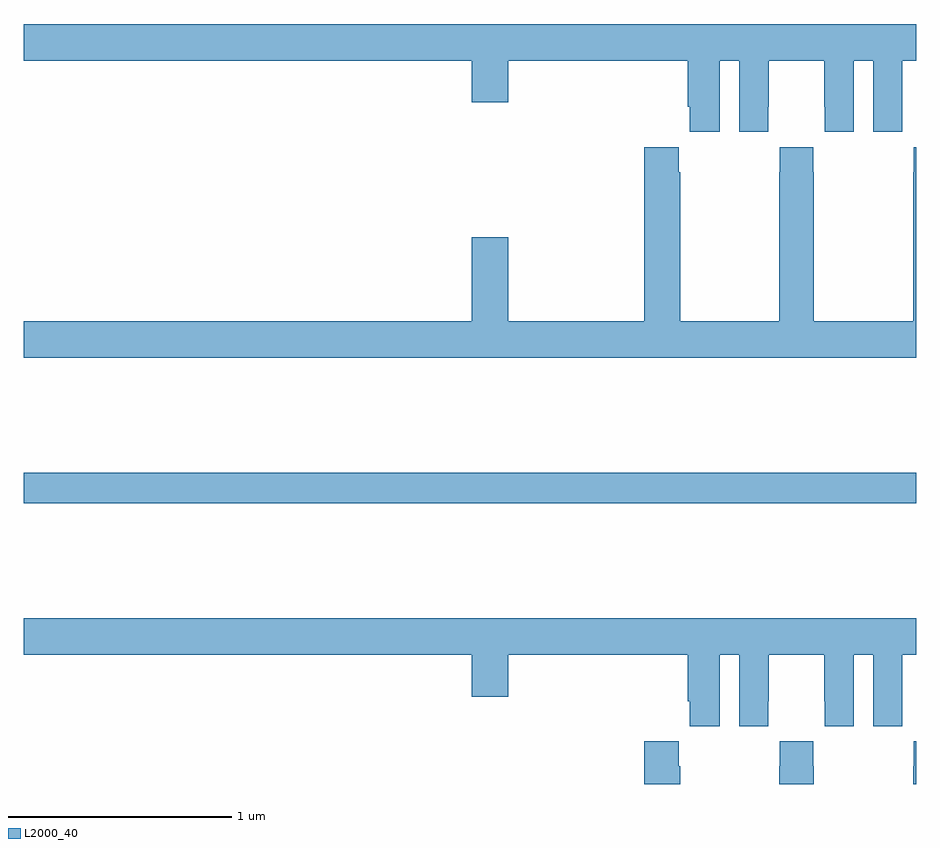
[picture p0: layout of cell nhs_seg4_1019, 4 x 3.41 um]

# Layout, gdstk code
import gdstk
lib = gdstk.Library(unit=1e-6, precision=1e-09)
def R(c, l, rs):  # rectangles x0, y0, x1, y1
    for r in rs: c.add(gdstk.rectangle(r[:2], r[2:], *l))
def P(c, l, *ps):  # polygons
    for p in ps: c.add(gdstk.Polygon(p, *l))
L2000_40 = (2000, 40)

nhs_seg4_1019 = lib.new_cell('nhs_seg4_1019')
R(nhs_seg4_1019, L2000_40, [(163,804.16,167,804.296)])
P(nhs_seg4_1019, L2000_40, [(166.12,806.144),(166.208,806.144),(166.208,805.824),(166.338,805.824),(166.338,805.936),(166.339,805.936),(166.339,806.144),(166.589,806.144),(166.589,805.936),(166.59,805.936),(166.59,805.824),(166.72,805.824),(166.72,806.144),(166.808,806.144),(166.808,805.824),(166.938,805.824),(166.938,805.936),(166.939,805.936),(166.939,806.144),(167,806.144),(167,806.308),(163,806.308),(163,806.144),(165.008,806.144),(165.008,805.956),(165.172,805.956),(165.172,806.144),(165.977,806.144),(165.977,805.936),(165.986,805.936),(165.986,805.824),(166.12,805.824)],
  [(167,805.756),(166.989,805.756),(166.989,805.643),(166.987,805.643),(166.987,804.976),(166.542,804.976),(166.542,805.643),(166.539,805.643),(166.539,805.756),(166.389,805.756),(166.389,805.643),(166.387,805.643),(166.387,804.976),(165.942,804.976),(165.942,805.643),(165.935,805.643),(165.935,805.756),(165.782,805.756),(165.782,804.976),(165.172,804.976),(165.172,805.351),(165.008,805.351),(165.008,804.976),(163,804.976),(163,804.812),(167,804.812)],
  [(166.12,803.48),(166.208,803.48),(166.208,803.16),(166.338,803.16),(166.338,803.272),(166.339,803.272),(166.339,803.48),(166.589,803.48),(166.589,803.272),(166.59,803.272),(166.59,803.16),(166.72,803.16),(166.72,803.48),(166.808,803.48),(166.808,803.16),(166.938,803.16),(166.938,803.272),(166.939,803.272),(166.939,803.48),(167,803.48),(167,803.644),(163,803.644),(163,803.48),(165.008,803.48),(165.008,803.292),(165.172,803.292),(165.172,803.48),(165.977,803.48),(165.977,803.272),(165.986,803.272),(165.986,803.16),(166.12,803.16)],
  [(165.942,802.979),(165.935,802.979),(165.935,803.092),(165.782,803.092),(165.782,802.9),(165.942,802.9)],
  [(166.542,802.979),(166.539,802.979),(166.539,803.092),(166.389,803.092),(166.389,802.979),(166.387,802.979),(166.387,802.9),(166.542,802.9)],
  [(167,803.092),(166.989,803.092),(166.989,802.979),(166.987,802.979),(166.987,802.9),(167,802.9)])

lib.write_gds('nhs_seg4_1019.gds')
